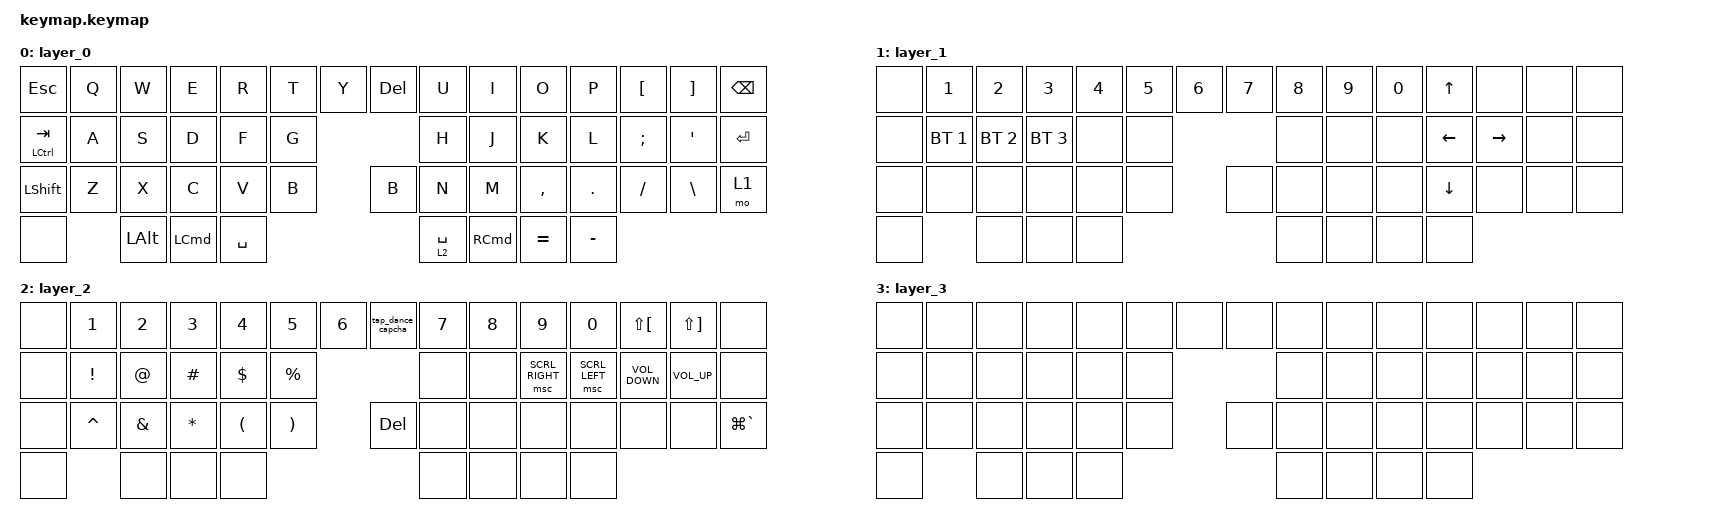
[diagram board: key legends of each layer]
#include <behaviors.dtsi>
#include <dt-bindings/zmk/bt.h>
#include <dt-bindings/zmk/keys.h>
#include <dt-bindings/zmk/pointing.h>

/ {
    behaviors {
        tap_dance_capcha: tap_dance_capcha {
            compatible = "zmk,behavior-tap-dance";
            label = "TAP_DANCE_CAPCHA";
            #binding-cells = <0>;
            bindings = <&kp LS(LG(NUMBER_4))>, <&kp LS(LG(N5))>;
        };
    };

    keymap {
        compatible = "zmk,keymap";

        layer_0 {
            bindings = <
&kp ESCAPE            &kp Q  &kp W         &kp E             &kp R      &kp T  &kp Y  &kp DEL  &kp U        &kp I              &kp O      &kp P       &kp LEFT_BRACKET  &kp RIGHT_BRACKET  &kp BACKSPACE
&mt LEFT_CONTROL TAB  &kp A  &kp S         &kp D             &kp F      &kp G                  &kp H        &kp J              &kp K      &kp L       &kp SEMICOLON     &kp SQT            &kp ENTER
&kp LEFT_SHIFT        &kp Z  &kp X         &kp C             &kp V      &kp B         &kp B    &kp N        &kp M              &kp COMMA  &kp PERIOD  &kp SLASH         &kp BACKSLASH      &mo 1
&none                        &kp LEFT_ALT  &kp LEFT_COMMAND  &kp SPACE                         &lt 2 SPACE  &kp RIGHT_COMMAND  &kp EQUAL  &kp MINUS
            >;
        };

        layer_1 {
            bindings = <
&none  &kp NUMBER_1  &kp NUMBER_2  &kp NUMBER_3  &kp NUMBER_4  &kp N5  &kp NUMBER_6  &kp N7  &kp N8  &kp N9  &kp N0  &kp UP_ARROW    &none      &none  &none
&none  &bt BT_SEL 1  &bt BT_SEL 2  &bt BT_SEL 3  &none         &none                         &none   &none   &none   &kp LEFT        &kp RIGHT  &none  &none
&none  &none         &none         &none         &none         &none                 &none   &none   &none   &none   &kp DOWN_ARROW  &none      &none  &none
&none                &none         &none         &none                                       &none   &none   &none   &none
            >;
        };

        layer_2 {
            bindings = <
&none  &kp NUMBER_1     &kp NUMBER_2   &kp NUMBER_3  &kp NUMBER_4          &kp N5                 &kp NUMBER_6  &tap_dance_capcha  &kp N7  &kp N8  &kp N9           &kp N0          &kp LS(LEFT_BRACKET)  &kp LS(RIGHT_BRACKET)  &none
&none  &kp EXCLAMATION  &kp AT_SIGN    &kp HASH      &kp DOLLAR            &kp PERCENT                                             &none   &none   &msc SCRL_RIGHT  &msc SCRL_LEFT  &kp C_VOLUME_DOWN     &kp K_VOLUME_UP        &none
&none  &kp CARET        &kp AMPERSAND  &kp ASTERISK  &kp LEFT_PARENTHESIS  &kp RIGHT_PARENTHESIS                &kp DEL            &none   &none   &none            &none           &none                 &none                  &kp LG(GRAVE)
&none                   &none          &none         &none                                                                         &none   &none   &none            &none
            >;
        };

        layer_3 {
            bindings = <
&none  &none  &none  &none  &none  &none  &none  &none  &none  &none  &none  &none  &none  &none  &none
&none  &none  &none  &none  &none  &none                &none  &none  &none  &none  &none  &none  &none
&none  &none  &none  &none  &none  &none         &none  &none  &none  &none  &none  &none  &none  &none
&none         &none  &none  &none                       &none  &none  &none  &none
            >;
        };
    };
};
